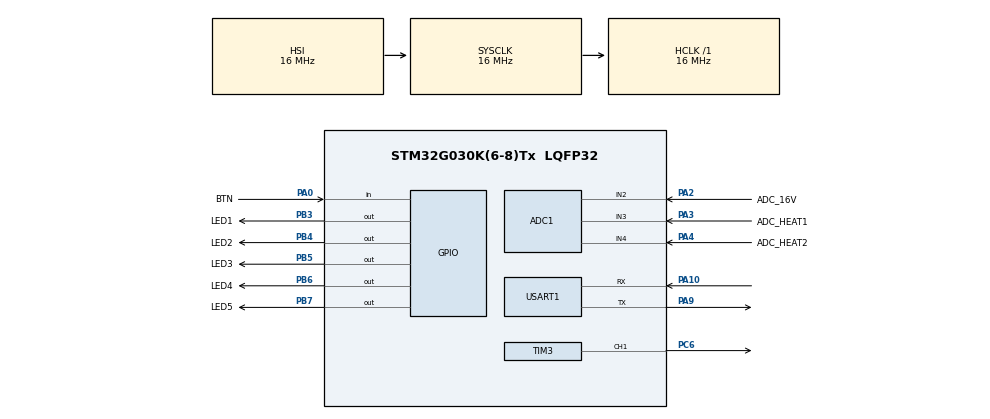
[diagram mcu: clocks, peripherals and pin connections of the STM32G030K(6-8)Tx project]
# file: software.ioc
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Mcu.Family=STM32G0
RCC.CortexFreq_Value=16000000
ADC1.Overrun=ADC_OVR_DATA_OVERWRITTEN
ADC1.ContinuousConvMode=DISABLE
Dma.ADC1.0.Polarity=HAL_DMAMUX_REQ_GEN_RISING
PA14-BOOT0.Mode=Serial_Wire
PA0.GPIO_Label=BTN
PB6.GPIO_Label=LED4
ADC1.SamplingTimeCommon1=ADC_SAMPLETIME_12CYCLES_5
ProjectManager.StackSize=0x400
PA4.Mode=IN4
RCC.HCLKFreq_Value=16000000
TIM3.Period=100
PB6.Signal=GPIO_Output
Dma.ADC1.0.Direction=DMA_PERIPH_TO_MEMORY
Dma.ADC1.0.MemDataAlignment=DMA_MDATAALIGN_HALFWORD
RCC.AHBFreq_Value=16000000
PA14-BOOT0.Signal=SYS_SWCLK
TIM3.Channel-PWM\ Generation1\ CH1=TIM_CHANNEL_1
RCC.HSE_VALUE=8000000
ADC1.ScanConvMode=ADC_SCAN_SEQ_FIXED
TIM3.Prescaler=16000
Dma.ADC1.0.PeriphInc=DMA_PINC_DISABLE
PB7.Signal=GPIO_Output
SH.S_TIM3_CH1.0=TIM3_CH1,PWM Generation1 CH1
PA0.Signal=GPIO_Input
PB7.GPIO_Label=LED5
ADC1.SelectedChannel=ADC_CHANNEL_2|ADC_CHANNEL_3|ADC_CHANNEL_4
Mcu.Package=LQFP32
PA2.GPIO_Label=ADC_16V
PA10.Signal=USART1_RX
PB5.GPIO_Label=LED3
NVIC.USART1_IRQn=true\:0\:0\:false\:false\:true\:true\:true
Dma.Request0=ADC1
PA4.GPIO_Label=ADC_HEAT2
ADC1.EOCSelection=ADC_EOC_SEQ_CONV
Dma.ADC1.0.EventEnable=DISABLE
PB4.Signal=GPIO_Output
PA3.Signal=ADC1_IN3
PB3.GPIO_Label=LED1
Dma.ADC1.0.Instance=DMA1_Channel1
ADC1.Sequencer=NOT_FULLY_CONFIGURABLE
PA10.Mode=Asynchronous
Dma.ADC1.0.SyncRequestNumber=1
PC6.Signal=S_TIM3_CH1
ADC1.DiscontinuousConvMode=DISABLE
RCC.EXTERNAL_CLOCK_VALUE=12288000
USART1.VirtualMode-Asynchronous=VM_ASYNC
PA13.Signal=SYS_SWDIO
PA3.Mode=IN3
Dma.ADC1.0.PeriphDataAlignment=DMA_PDATAALIGN_HALFWORD
PA9.Mode=Asynchronous
TIM3.Pulse-PWM\ Generation1\ CH1=3
ProjectManager.TargetToolchain=Makefile
Dma.ADC1.0.Mode=DMA_CIRCULAR
Dma.ADC1.0.SignalID=NONE
Dma.ADC1.0.SyncSignalID=NONE
Dma.ADC1.0.Priority=DMA_PRIORITY_LOW
PA9.Signal=USART1_TX
ADC1.EnableAnalogWatchDog1=false
RCC.LSE_VALUE=32768
board=custom
RCC.VCOOutputFreq_Value=128000000
NVIC.TIM3_IRQn=true\:0\:0\:false\:false\:true\:true\:true
Dma.ADC1.0.SyncPolarity=HAL_DMAMUX_SYNC_NO_EVENT
PB4.GPIO_Label=LED2
ADC1.DMAContinuousRequests=DISABLE
ADC1.NbrOfConversion=1
PA13.Mode=Serial_Wire
Mcu.Name=STM32G030K(6-8)Tx
PA2.Signal=ADC1_IN2
PB3.Signal=GPIO_Output
PA4.Signal=ADC1_IN4
RCC.SYSCLKFreq_VALUE=16000000
PB5.Signal=GPIO_Output
ADC1.master=1
ADC1.TriggerFrequencyMode=ADC_TRIGGER_FREQ_LOW
Dma.ADC1.0.RequestNumber=1
Dma.ADC1.0.SyncEnable=DISABLE
Dma.ADC1.0.MemInc=DMA_MINC_ENABLE
ProjectManager.HeapSize=0x200
RCC.HSI_VALUE=16000000
ADC1.NbrOfConversionFlag=0
PA2.Mode=IN2
NVIC.DMA1_Channel1_IRQn=true\:0\:0\:false\:false\:true\:false\:true
ADC1.ClockPrescaler=ADC_CLOCK_ASYNC_DIV1
PA3.GPIO_Label=ADC_HEAT1

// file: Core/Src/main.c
/* USER CODE BEGIN Header */
/**
  ******************************************************************************
  * @file           : main.c
  * @brief          : Main program body
  ******************************************************************************
  * @attention
  *
  * <h2><center>&copy; Copyright (c) 2020 STMicroelectronics.
  * All rights reserved.</center></h2>
  *
  * This software component is licensed by ST under BSD 3-Clause license,
  * the "License"; You may not use this file except in compliance with the
  * License. You may obtain a copy of the License at:
  *                        opensource.org/licenses/BSD-3-Clause
  *
  ******************************************************************************
  */
/* USER CODE END Header */
#include "main.h"

/* USER CODE BEGIN Includes */
#include <string.h>
#include <stdio.h>
#include <stdbool.h>
/* USER CODE END Includes */

/* USER CODE BEGIN PTD */

typedef enum
{
  RUN = 0x0,
  CYCLE = 0x1,
  VOLTAGE = 0x2,
  CURRENT1 = 0x3,
  CURRENT2 = 0x4,
  BUTTON = 0x5,
  MICROS_ON = 0x6,
  MICROS_OFF = 0x7,
  PROGRAM = 0x8,
  STREAM_MODE = 0x9,
  MAX_CMD
} data_cmd_t;

/* USER CODE END PTD */

/* USER CODE BEGIN PD */
#define ADC_BUF_LEN 3
#define MSG_DATA_LEN 4

typedef struct
{
  data_cmd_t command;
  uint8_t data[MSG_DATA_LEN];
} command_t;
/* USER CODE END PD */

ADC_HandleTypeDef hadc1;
DMA_HandleTypeDef hdma_adc1;

TIM_HandleTypeDef htim3;

UART_HandleTypeDef huart1;

/* USER CODE BEGIN PV */
volatile uint16_t adc_buf[ADC_BUF_LEN];
volatile uint8_t uart_buf[5];
volatile float source_voltage = 0;
volatile float current1 = 0;
volatile float current2 = 0;
volatile bool running = false;
volatile bool stream_adc = false;
volatile uint32_t cycle_count = 0;
volatile uint32_t run_until_cycle = -1;
volatile uint32_t on_time = 3000;
volatile uint32_t off_time = 7000;

volatile uint32_t led_on_values[4] = {-1, -1, -1, -1};

command_t update_packets[MAX_CMD];
/* USER CODE END PV */

void SystemClock_Config(void);
static void MX_GPIO_Init(void);
static void MX_DMA_Init(void);
static void MX_ADC1_Init(void);
static void MX_TIM3_Init(void);
static void MX_USART1_UART_Init(void);

int main(void)
{

  /* MCU Configuration--------------------------------------------------------*/

  /* Reset of all peripherals, Initializes the Flash interface and the Systick. */
  HAL_Init();

  /* Configure the system clock */
  SystemClock_Config();

  /* Initialize all configured peripherals */
  MX_GPIO_Init();
  MX_DMA_Init();
  MX_ADC1_Init();
  MX_TIM3_Init();
  MX_USART1_UART_Init();
  /* USER CODE BEGIN 2 */
  HAL_ADC_Start_DMA(&hadc1, (uint32_t *)adc_buf, ADC_BUF_LEN);
  HAL_UART_Receive_IT(&huart1, uart_buf, MSG_DATA_LEN + 1);

  for (uint8_t i = 0; i < MAX_CMD; i++)
  {
    update_packets[i].command = i;
  }
  /* USER CODE END 2 */

  /* Infinite loop */
  while (1)
  {

    /* USER CODE BEGIN 3 */
    if (stream_adc)
    {
    }
    else
    {
      // send the normal data
      source_voltage = 6.1 * (adc_buf[0] / 4095.0);
      current1 = 0.007245213392640534 * adc_buf[1] - 15.265676481016202;
      current2 = 0.007245213392640534 * adc_buf[2] - 15.265676481016202;
      update_packets[RUN].data[0] = running;
      memcpy(&update_packets[CYCLE].data, &cycle_count, sizeof(cycle_count));
      memcpy(&update_packets[VOLTAGE].data, &source_voltage, sizeof(source_voltage));
      memcpy(&update_packets[CURRENT1].data, &current1, sizeof(current1));
      memcpy(&update_packets[CURRENT2].data, &current2, sizeof(current2));
      update_packets[BUTTON].data[0] = HAL_GPIO_ReadPin(BTN_GPIO_Port, BTN_Pin) == GPIO_PIN_RESET;
      memcpy(&update_packets[MICROS_ON].data, &on_time, sizeof(uint32_t));
      memcpy(&update_packets[MICROS_OFF].data, &off_time, sizeof(uint32_t));

      HAL_UART_Transmit(&huart1, update_packets, sizeof(update_packets), HAL_MAX_DELAY);

      HAL_Delay(4);
    }
  }
  /* USER CODE END 3 */
}

void SystemClock_Config(void)
{
  RCC_OscInitTypeDef RCC_OscInitStruct = {0};
  RCC_ClkInitTypeDef RCC_ClkInitStruct = {0};
  RCC_PeriphCLKInitTypeDef PeriphClkInit = {0};

  /** Configure the main internal regulator output voltage
  */
  HAL_PWREx_ControlVoltageScaling(PWR_REGULATOR_VOLTAGE_SCALE1);
  /** Initializes the RCC Oscillators according to the specified parameters
  * in the RCC_OscInitTypeDef structure.
  */
  RCC_OscInitStruct.OscillatorType = RCC_OSCILLATORTYPE_HSI;
  RCC_OscInitStruct.HSIState = RCC_HSI_ON;
  RCC_OscInitStruct.HSIDiv = RCC_HSI_DIV1;
  RCC_OscInitStruct.HSICalibrationValue = RCC_HSICALIBRATION_DEFAULT;
  RCC_OscInitStruct.PLL.PLLState = RCC_PLL_NONE;
  if (HAL_RCC_OscConfig(&RCC_OscInitStruct) != HAL_OK)
  {
    Error_Handler();
  }
  /** Initializes the CPU, AHB and APB buses clocks
  */
  RCC_ClkInitStruct.ClockType = RCC_CLOCKTYPE_HCLK | RCC_CLOCKTYPE_SYSCLK | RCC_CLOCKTYPE_PCLK1;
  RCC_ClkInitStruct.SYSCLKSource = RCC_SYSCLKSOURCE_HSI;
  RCC_ClkInitStruct.AHBCLKDivider = RCC_SYSCLK_DIV1;
  RCC_ClkInitStruct.APB1CLKDivider = RCC_HCLK_DIV1;

  if (HAL_RCC_ClockConfig(&RCC_ClkInitStruct, FLASH_LATENCY_0) != HAL_OK)
  {
    Error_Handler();
  }
  /** Initializes the peripherals clocks
  */
  PeriphClkInit.PeriphClockSelection = RCC_PERIPHCLK_USART1 | RCC_PERIPHCLK_ADC;
  PeriphClkInit.Usart1ClockSelection = RCC_USART1CLKSOURCE_PCLK1;
  PeriphClkInit.AdcClockSelection = RCC_ADCCLKSOURCE_SYSCLK;
  if (HAL_RCCEx_PeriphCLKConfig(&PeriphClkInit) != HAL_OK)
  {
    Error_Handler();
  }
}

static void MX_ADC1_Init(void)
{

  ADC_ChannelConfTypeDef sConfig = {0};

  /** Configure the global features of the ADC (Clock, Resolution, Data Alignment and number of conversion)
  */
  hadc1.Instance = ADC1;
  hadc1.Init.ClockPrescaler = ADC_CLOCK_ASYNC_DIV1;
  hadc1.Init.Resolution = ADC_RESOLUTION_12B;
  hadc1.Init.DataAlign = ADC_DATAALIGN_RIGHT;
  hadc1.Init.ScanConvMode = ADC_SCAN_SEQ_FIXED;
  hadc1.Init.EOCSelection = ADC_EOC_SEQ_CONV;
  hadc1.Init.LowPowerAutoWait = DISABLE;
  hadc1.Init.LowPowerAutoPowerOff = DISABLE;
  hadc1.Init.ContinuousConvMode = DISABLE;
  hadc1.Init.NbrOfConversion = 1;
  hadc1.Init.DiscontinuousConvMode = DISABLE;
  hadc1.Init.ExternalTrigConv = ADC_SOFTWARE_START;
  hadc1.Init.ExternalTrigConvEdge = ADC_EXTERNALTRIGCONVEDGE_NONE;
  hadc1.Init.DMAContinuousRequests = DISABLE;
  hadc1.Init.Overrun = ADC_OVR_DATA_OVERWRITTEN;
  hadc1.Init.SamplingTimeCommon1 = ADC_SAMPLETIME_12CYCLES_5;
  hadc1.Init.OversamplingMode = DISABLE;
  hadc1.Init.TriggerFrequencyMode = ADC_TRIGGER_FREQ_LOW;
  if (HAL_ADC_Init(&hadc1) != HAL_OK)
  {
    Error_Handler();
  }
  /** Configure Regular Channel
  */
  sConfig.Channel = ADC_CHANNEL_2;
  sConfig.Rank = ADC_RANK_CHANNEL_NUMBER;
  if (HAL_ADC_ConfigChannel(&hadc1, &sConfig) != HAL_OK)
  {
    Error_Handler();
  }
  /** Configure Regular Channel
  */
  sConfig.Channel = ADC_CHANNEL_3;
  if (HAL_ADC_ConfigChannel(&hadc1, &sConfig) != HAL_OK)
  {
    Error_Handler();
  }
  /** Configure Regular Channel
  */
  sConfig.Channel = ADC_CHANNEL_4;
  if (HAL_ADC_ConfigChannel(&hadc1, &sConfig) != HAL_OK)
  {
    Error_Handler();
  }
}

static void MX_TIM3_Init(void)
{

  TIM_MasterConfigTypeDef sMasterConfig = {0};
  TIM_OC_InitTypeDef sConfigOC = {0};

  htim3.Instance = TIM3;
  htim3.Init.Prescaler = 16;
  htim3.Init.CounterMode = TIM_COUNTERMODE_UP;
  htim3.Init.Period = 9999;
  htim3.Init.ClockDivision = TIM_CLOCKDIVISION_DIV1;
  htim3.Init.AutoReloadPreload = TIM_AUTORELOAD_PRELOAD_DISABLE;
  if (HAL_TIM_PWM_Init(&htim3) != HAL_OK)
  {
    Error_Handler();
  }
  sMasterConfig.MasterOutputTrigger = TIM_TRGO_RESET;
  sMasterConfig.MasterSlaveMode = TIM_MASTERSLAVEMODE_DISABLE;
  if (HAL_TIMEx_MasterConfigSynchronization(&htim3, &sMasterConfig) != HAL_OK)
  {
    Error_Handler();
  }
  sConfigOC.OCMode = TIM_OCMODE_PWM1;
  sConfigOC.Pulse = 7000;
  sConfigOC.OCPolarity = TIM_OCPOLARITY_HIGH;
  sConfigOC.OCFastMode = TIM_OCFAST_DISABLE;
  if (HAL_TIM_PWM_ConfigChannel(&htim3, &sConfigOC, TIM_CHANNEL_1) != HAL_OK)
  {
    Error_Handler();
  }
  HAL_TIM_MspPostInit(&htim3);
}

static void MX_USART1_UART_Init(void)
{

  huart1.Instance = USART1;
  huart1.Init.BaudRate = 115200;
  huart1.Init.WordLength = UART_WORDLENGTH_8B;
  huart1.Init.StopBits = UART_STOPBITS_1;
  huart1.Init.Parity = UART_PARITY_NONE;
  huart1.Init.Mode = UART_MODE_TX_RX;
  huart1.Init.HwFlowCtl = UART_HWCONTROL_NONE;
  huart1.Init.OverSampling = UART_OVERSAMPLING_16;
  huart1.Init.OneBitSampling = UART_ONE_BIT_SAMPLE_DISABLE;
  huart1.Init.ClockPrescaler = UART_PRESCALER_DIV1;
  huart1.AdvancedInit.AdvFeatureInit = UART_ADVFEATURE_NO_INIT;
  if (HAL_UART_Init(&huart1) != HAL_OK)
  {
    Error_Handler();
  }
  if (HAL_UARTEx_SetTxFifoThreshold(&huart1, UART_TXFIFO_THRESHOLD_1_8) != HAL_OK)
  {
    Error_Handler();
  }
  if (HAL_UARTEx_SetRxFifoThreshold(&huart1, UART_RXFIFO_THRESHOLD_1_8) != HAL_OK)
  {
    Error_Handler();
  }
  if (HAL_UARTEx_DisableFifoMode(&huart1) != HAL_OK)
  {
    Error_Handler();
  }
}

static void MX_DMA_Init(void)
{

  /* DMA controller clock enable */
  __HAL_RCC_DMA1_CLK_ENABLE();

  /* DMA interrupt init */
  /* DMA1_Channel1_IRQn interrupt configuration */
  HAL_NVIC_SetPriority(DMA1_Channel1_IRQn, 0, 0);
  HAL_NVIC_EnableIRQ(DMA1_Channel1_IRQn);
}

static void MX_GPIO_Init(void)
{
  GPIO_InitTypeDef GPIO_InitStruct = {0};

  /* GPIO Ports Clock Enable */
  __HAL_RCC_GPIOA_CLK_ENABLE();
  __HAL_RCC_GPIOC_CLK_ENABLE();
  __HAL_RCC_GPIOB_CLK_ENABLE();

  /*Configure GPIO pin Output Level */
  HAL_GPIO_WritePin(GPIOB, LED1_Pin | LED2_Pin | LED3_Pin | LED4_Pin | LED5_Pin, GPIO_PIN_RESET);

  /*Configure GPIO pin : BTN_Pin */
  GPIO_InitStruct.Pin = BTN_Pin;
  GPIO_InitStruct.Mode = GPIO_MODE_INPUT;
  GPIO_InitStruct.Pull = GPIO_NOPULL;
  HAL_GPIO_Init(BTN_GPIO_Port, &GPIO_InitStruct);

  /*Configure GPIO pins : LED1_Pin LED2_Pin LED3_Pin LED4_Pin
                           LED5_Pin */
  GPIO_InitStruct.Pin = LED1_Pin | LED2_Pin | LED3_Pin | LED4_Pin | LED5_Pin;
  GPIO_InitStruct.Mode = GPIO_MODE_OUTPUT_PP;
  GPIO_InitStruct.Pull = GPIO_NOPULL;
  GPIO_InitStruct.Speed = GPIO_SPEED_FREQ_LOW;
  HAL_GPIO_Init(GPIOB, &GPIO_InitStruct);
}

/* USER CODE BEGIN 4 */
void HAL_ADC_ConvCpltCallback(ADC_HandleTypeDef *hadc)
{
  // HAL_GPIO_TogglePin(LED1_GPIO_Port, LED1_Pin);
  HAL_ADC_Start_DMA(&hadc1, (uint32_t *)adc_buf, ADC_BUF_LEN);
}

void HAL_TIM_PWM_PulseFinishedCallback(TIM_HandleTypeDef *htim)
{
  ++cycle_count;
  if (cycle_count >= run_until_cycle)
  {
    HAL_TIM_PWM_Stop_IT(&htim3, TIM_CHANNEL_1);
    running = false;
    HAL_GPIO_WritePin(LED5_GPIO_Port, LED5_Pin, GPIO_PIN_SET);
  }

  uint16_t leds_on = 0;
  leds_on |= cycle_count >= led_on_values[0] ? LED1_Pin : 0;
  leds_on |= cycle_count >= led_on_values[1] ? LED2_Pin : 0;
  leds_on |= cycle_count >= led_on_values[2] ? LED3_Pin : 0;
  leds_on |= cycle_count >= led_on_values[3] ? LED4_Pin : 0;
  HAL_GPIO_WritePin(LED1_GPIO_Port, leds_on, GPIO_PIN_SET);
}

void HAL_UART_RxCpltCallback(UART_HandleTypeDef *huart)
{
  switch (uart_buf[0])
  {
  case RUN:
    running = (bool)uart_buf[1];
    if (running)
    {
      cycle_count = 0;
      HAL_TIM_PWM_Start_IT(&htim3, TIM_CHANNEL_1);
      HAL_GPIO_WritePin(LED1_GPIO_Port, LED1_Pin | LED2_Pin | LED3_Pin | LED4_Pin | LED5_Pin, GPIO_PIN_RESET);
    }
    else
    {
      HAL_TIM_PWM_Stop_IT(&htim3, TIM_CHANNEL_1);
    }
    break;
  case CYCLE:
    memcpy(&run_until_cycle, uart_buf + 1, MSG_DATA_LEN);
    led_on_values[0] = (uint32_t)(run_until_cycle * 1.0 / 5.0);
    led_on_values[1] = (uint32_t)(run_until_cycle * 2.0 / 5.0);
    led_on_values[2] = (uint32_t)(run_until_cycle * 3.0 / 5.0);
    led_on_values[3] = (uint32_t)(run_until_cycle * 4.0 / 5.0);
    break;
  case MICROS_ON:
    on_time = *((uint32_t *)(uart_buf + 1));
    __HAL_TIM_SET_AUTORELOAD(&htim3, on_time + off_time);
    break;
  case MICROS_OFF:
    off_time = *((uint32_t *)(uart_buf + 1));
    __HAL_TIM_SET_COMPARE(&htim3, TIM_CHANNEL_1, off_time);
    __HAL_TIM_SET_AUTORELOAD(&htim3, on_time + off_time);
    break;
  case PROGRAM:
    // HAL_FLASH_Unlock();
    // HAL_FLASH_OB_Unlock();
    // SET_BIT(FLASH->OPTR, FLASH_OPTR_nBOOT1);
    // SET_BIT(FLASH->OPTR, FLASH_OPTR_nBOOT_SEL);
    // CLEAR_BIT(FLASH->OPTR, FLASH_OPTR_nBOOT0);
    // while (READ_BIT(FLASH->SR, FLASH_SR_BSY1))
    // {
    //   // wait for flash operation to finish
    // }
    // SET_BIT(FLASH->CR, FLASH_CR_OPTSTRT);
    // while (READ_BIT(FLASH->SR, FLASH_SR_BSY1))
    // {
    //   // wait for flash operation to finish
    // }
    // SET_BIT(FLASH->CR, FLASH_CR_OBL_LAUNCH);
    // HAL_NVIC_SystemReset();
    break;
  case STREAM_MODE:
    stream_adc = (bool)uart_buf[1];
    break;
  }
  HAL_UART_Receive_IT(&huart1, uart_buf, MSG_DATA_LEN + 1);
}
/* USER CODE END 4 */

void Error_Handler(void)
{
}

/************************ (C) COPYRIGHT STMicroelectronics *****END OF FILE****/
